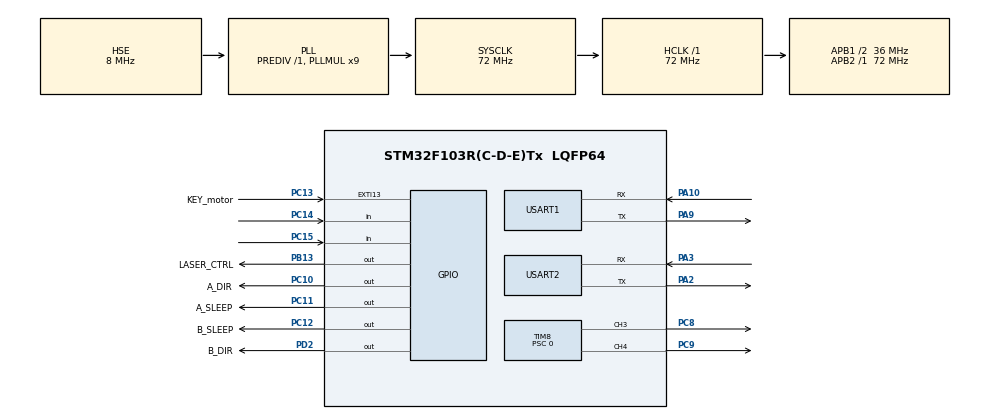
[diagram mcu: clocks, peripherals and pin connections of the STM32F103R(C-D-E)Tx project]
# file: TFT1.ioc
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Dma.Request0=USART2_TX
Dma.Request1=USART2_RX
Dma.USART2_RX.1.Direction=DMA_PERIPH_TO_MEMORY
Dma.USART2_RX.1.Instance=DMA1_Channel6
Dma.USART2_RX.1.MemDataAlignment=DMA_MDATAALIGN_BYTE
Dma.USART2_RX.1.MemInc=DMA_MINC_ENABLE
Dma.USART2_RX.1.Mode=DMA_CIRCULAR
Dma.USART2_RX.1.PeriphDataAlignment=DMA_PDATAALIGN_BYTE
Dma.USART2_RX.1.PeriphInc=DMA_PINC_DISABLE
Dma.USART2_RX.1.Priority=DMA_PRIORITY_LOW
Dma.USART2_TX.0.Direction=DMA_MEMORY_TO_PERIPH
Dma.USART2_TX.0.Instance=DMA1_Channel7
Dma.USART2_TX.0.MemDataAlignment=DMA_MDATAALIGN_BYTE
Dma.USART2_TX.0.MemInc=DMA_MINC_ENABLE
Dma.USART2_TX.0.Mode=DMA_NORMAL
Dma.USART2_TX.0.PeriphDataAlignment=DMA_PDATAALIGN_BYTE
Dma.USART2_TX.0.PeriphInc=DMA_PINC_DISABLE
Dma.USART2_TX.0.Priority=DMA_PRIORITY_LOW
Mcu.Family=STM32F1
Mcu.Name=STM32F103R(C-D-E)Tx
Mcu.Package=LQFP64
NVIC.DMA1_Channel6_IRQn=true\:0\:0\:false\:false\:true\:false\:true\:true
NVIC.DMA1_Channel7_IRQn=true\:0\:0\:false\:false\:true\:false\:true\:true
NVIC.EXTI15_10_IRQn=true\:0\:0\:false\:false\:true\:true\:true\:true
NVIC.PriorityGroup=NVIC_PRIORITYGROUP_4
NVIC.USART2_IRQn=true\:0\:0\:false\:false\:true\:true\:true\:true
PA10.Mode=Asynchronous
PA10.Signal=USART1_RX
PA13.Mode=Serial_Wire
PA13.Signal=SYS_JTMS-SWDIO
PA14.Mode=Serial_Wire
PA14.Signal=SYS_JTCK-SWCLK
PA2.Mode=Asynchronous
PA2.Signal=USART2_TX
PA3.Mode=Asynchronous
PA3.Signal=USART2_RX
PA9.Mode=Asynchronous
PA9.Signal=USART1_TX
PB13.GPIO_Label=LASER_CTRL
PB13.GPIO_ModeDefaultOutputPP=GPIO_MODE_OUTPUT_OD
PB13.GPIO_PuPd=GPIO_NOPULL
PB13.PinState=GPIO_PIN_SET
PB13.Signal=GPIO_Output
PC10.GPIO_Label=A_DIR
PC10.GPIO_Speed=GPIO_SPEED_FREQ_HIGH
PC10.Signal=GPIO_Output
PC11.GPIO_Label=A_SLEEP
PC11.GPIO_Speed=GPIO_SPEED_FREQ_HIGH
PC11.PinState=GPIO_PIN_SET
PC11.Signal=GPIO_Output
PC12.GPIO_Label=B_SLEEP
PC12.GPIO_Speed=GPIO_SPEED_FREQ_HIGH
PC12.PinState=GPIO_PIN_SET
PC12.Signal=GPIO_Output
PC13-TAMPER-RTC.GPIO_Label=KEY_motor
PC13-TAMPER-RTC.GPIO_ModeDefaultEXTI=GPIO_MODE_IT_FALLING
PC13-TAMPER-RTC.GPIO_PuPd=GPIO_PULLUP
PC13-TAMPER-RTC.Signal=GPXTI13
PC14-OSC32_IN.GPIO_PuPd=GPIO_PULLUP
PC14-OSC32_IN.Signal=GPIO_Input
PC15-OSC32_OUT.GPIO_Mode=GPIO_MODE_INPUT
PC15-OSC32_OUT.GPIO_PuPd=GPIO_PULLUP
PC15-OSC32_OUT.Signal=GPIO_Input
PC8.Signal=S_TIM8_CH3
PC9.Signal=S_TIM8_CH4
PD0-OSC_IN.Mode=HSE-External-Oscillator
PD0-OSC_IN.Signal=RCC_OSC_IN
PD1-OSC_OUT.Mode=HSE-External-Oscillator
PD1-OSC_OUT.Signal=RCC_OSC_OUT
PD2.GPIO_Label=B_DIR
PD2.GPIO_Speed=GPIO_SPEED_FREQ_HIGH
PD2.PinState=GPIO_PIN_RESET
PD2.Signal=GPIO_Output
ProjectManager.HeapSize=0x200
ProjectManager.StackSize=0x400
ProjectManager.TargetToolchain=CMake
RCC.AHBFreq_Value=72000000
RCC.APB1CLKDivider=RCC_HCLK_DIV2
RCC.APB1Freq_Value=36000000
RCC.APB1TimFreq_Value=72000000
RCC.APB2Freq_Value=72000000
RCC.APB2TimFreq_Value=72000000
RCC.HCLKFreq_Value=72000000
RCC.PLLMUL=RCC_PLL_MUL9
RCC.PLLSourceVirtual=RCC_PLLSOURCE_HSE
RCC.SYSCLKFreq_VALUE=72000000
RCC.SYSCLKSource=RCC_SYSCLKSOURCE_PLLCLK
RCC.USBFreq_Value=72000000
SH.S_TIM8_CH3.0=TIM8_CH3,PWM Generation3 CH3
SH.S_TIM8_CH4.0=TIM8_CH4,PWM Generation4 CH4
TIM8.AutoReloadPreload=TIM_AUTORELOAD_PRELOAD_ENABLE
TIM8.Channel-PWM\ Generation3\ CH3=TIM_CHANNEL_3
TIM8.Channel-PWM\ Generation4\ CH4=TIM_CHANNEL_4
TIM8.Period=7199
TIM8.Prescaler=0
TIM8.TIM_MasterOutputTrigger=TIM_TRGO_OC3REF
TIM8.TIM_MasterSlaveMode=TIM_MASTERSLAVEMODE_ENABLE
USART1.VirtualMode=VM_ASYNC
USART2.VirtualMode=VM_ASYNC
VP_TIM8_VS_ClockSourceINT.Mode=Internal
board=custom

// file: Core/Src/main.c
/* USER CODE BEGIN Header */
/**
  ******************************************************************************
  * @file           : main.c
  * @brief          : Main program body
  ******************************************************************************
  * @attention
  *
  * Copyright (c) 2025 STMicroelectronics.
  * All rights reserved.
  *
  * This software is licensed under terms that can be found in the LICENSE file
  * in the root directory of this software component.
  * If no LICENSE file comes with this software, it is provided AS-IS.
  *
  ******************************************************************************
  */
/* USER CODE END Header */
#include "main.h"
#include "dma.h"
#include "tim.h"
#include "usart.h"
#include "gpio.h"

/* USER CODE BEGIN Includes */
#include "step_motor.h"
// #include "delay.h"
#include "key.h"
#include "usart_user.h"
#include "pid.h"
/* USER CODE END Includes */

/* USER CODE BEGIN PD */
// 定义 UART 接收缓存（大小可根据实际命令长度扩展）
#define UART_RX_BUF_LEN 64
// 全局变量
uint8_t uart_cmd_buf[UART_RX_BUF_LEN] = {0};
uint16_t uart_cmd_idx = 0;
uint32_t last_receive_time = 0;

volatile int g_dect_flag = 0;  // 是否检测到目标
volatile int g_err_x = 0;      // 当前x偏差
volatile int g_err_y = 0;      // 当前y偏差

#define CMD_TIMEOUT_MS 1000  // 命令超时时间

// 命令解析函数
void parse_uart_cmd(const char* cmd)
{
  int dect_flag = 0;
  int x_err = 0, y_err = 0;

  // 添加长度检查
  if (strlen(cmd) < 7) {
    // usart_printf("命令过短: %s\r\n", cmd);
    return;
  }

  if (strncmp(cmd, "0xdect:", 7) != 0) {
    // usart_printf("无效命令头: %s\r\n", cmd);
    return;
  }
  if (sscanf(cmd, "0xdect:%d,err:%d,%d", &dect_flag, &x_err, &y_err) == 3)
  {
    // usart_printf("✅ 解析成功: dect=%d, x=%.2f, y=%.2f\r\n", dect_flag, x_err, y_err);
    StepMotor_PID_Update(x_err, y_err, dect_flag);
    g_dect_flag = dect_flag;
    g_err_x = x_err;
    g_err_y = y_err;
  }
  else
  {
    // usart_printf("❌ 解析失败: %s\r\n", cmd);
  }
}
// 清空接收缓冲区
void clear_uart_buffer(void)
{
  memset(uart_cmd_buf, 0, UART_RX_BUF_LEN);
  uart_cmd_idx = 0;
}

void loop_uart_check(void)
{
  uint8_t ch;
  uint32_t current_time = HAL_GetTick();

  // 超时检查：如果长时间没有完整命令，清空缓冲区
  if (uart_cmd_idx > 0 && (current_time - last_receive_time) > CMD_TIMEOUT_MS) {
    // usart_printf("⚠️ 命令接收超时，清空缓冲区\r\n");
    clear_uart_buffer();
  }

  while (HAL_UART_Receive(&huart2, &ch, 1, 100) == HAL_OK)  // 增加超时时间到100ms
  {
    last_receive_time = current_time;

    // 方案1：严格的命令头检测 "0xdect:"
    if (uart_cmd_idx == 0) {
      if (ch != '0') {
        continue; // 丢弃开头不是 '0' 的字符
      }
    }
    // 检查是否是完整的命令头 "0xdect:"
    else if (uart_cmd_idx < 7) {
      const char expected[] = "0xdect:";
      if (ch != expected[uart_cmd_idx]) {
        // 如果不匹配，重新开始
        clear_uart_buffer();
        if (ch == '0') {
          uart_cmd_buf[uart_cmd_idx++] = ch;
        }
        continue;
      }
    }

    // 处理结束符
    if (ch == '\n' || ch == '\r')
    {
      if (uart_cmd_idx > 0) {  // 确保有数据
        uart_cmd_buf[uart_cmd_idx] = '\0';
        // usart_printf("📨 收到命令: %s\r\n", uart_cmd_buf);
        parse_uart_cmd(uart_cmd_buf);
        clear_uart_buffer();
      }
    }
    else
    {
      // 防止缓冲区溢出
      if (uart_cmd_idx < UART_RX_BUF_LEN - 1) {
        uart_cmd_buf[uart_cmd_idx++] = ch;
      } else {
        // usart_printf("⚠️ 缓冲区溢出，清空重新开始\r\n");
        clear_uart_buffer();
      }
    }
  }
}

void MotorControl_Init(void)
{
  // 初始化 PID 参数（可自行调参）
  // PID_Init(&pid_x, 0.001f, 0.01f, 0.001f, 50.0f);
  PID_Init(&pid_x, 2.0f, 0.001f, 0.001f, 50.0f);
  PID_Init(&pid_y, 8.0f, 0.001f, 0.001f, 50.0f);
  // PID_Init(&pid_x, 2.0f, 0.005f, 0.0f, 50.0f);
  // PID_Init(&pid_y, 3.0f, 0.001f, 0.0f, 50.0f);
  // PID_Init(&pid_y, 1.0f, 0.01f, 0.001f, 50.0f);
}

void Laser_On(void)
{
  HAL_GPIO_WritePin(GPIOB, GPIO_PIN_13, GPIO_PIN_RESET);
}

// 关闭激光器
void Laser_Off(void)
{
  HAL_GPIO_WritePin(GPIOB, GPIO_PIN_13, GPIO_PIN_SET);
}

/* USER CODE END PD */

void SystemClock_Config(void);

int main(void)
{

  /* MCU Configuration--------------------------------------------------------*/

  /* Reset of all peripherals, Initializes the Flash interface and the Systick. */
  HAL_Init();

  /* USER CODE BEGIN Init */
  // delay_init();  // 初始化 DWT/SysTick 延时
  /* USER CODE END Init */

  /* Configure the system clock */
  SystemClock_Config();

  /* Initialize all configured peripherals */
  MX_GPIO_Init();
  MX_DMA_Init();
  MX_USART2_UART_Init();
  MX_TIM8_Init();
  MX_USART1_UART_Init();
  /* USER CODE BEGIN 2 */
  // 初始化按键中断
  // Key_Init();

  // HAL_UART_Receive_IT(&huart2, &uart_rx_ch, 1);  // ✅ 接收1字节

  MotorControl_Init();

  // 初始化方向与休眠引脚
  StepMotor_Init();
  // 使能 A、B 电机
  // 初始化方向与休眠引脚
  StepMotor_Init();
  // 使能 A、B 电机（退出 SLEEP）
  StepMotor_SetSleep(STEP_MOTOR_A, GPIO_PIN_SET);
  StepMotor_SetSleep(STEP_MOTOR_B, GPIO_PIN_SET);

  // 设置方向（GPIO_PIN_RESET = 顺时针）
  StepMotor_SetDir(STEP_MOTOR_A, GPIO_PIN_RESET);
  StepMotor_SetDir(STEP_MOTOR_B, GPIO_PIN_RESET);

  // 设置占空比为 50%
  // StepMotor_SetDuty(STEP_MOTOR_A, 50.0f);  // 百分比
  // StepMotor_SetDuty(STEP_MOTOR_B, 50.0f);
  StepMotor_SetDuty(STEP_MOTOR_A, 0.0f);  // 百分比
  StepMotor_SetDuty(STEP_MOTOR_B, 0.0f);

  // 启动 PWM 输出
  StepMotor_Start(STEP_MOTOR_A);
  StepMotor_Start(STEP_MOTOR_B);

  // delay_ms(10);
  HAL_Delay(10);

  StepMotor_Turn(STEP_MOTOR_A, 78, 32.0f, 0, 100);
  // Laser_Off();  // 默认关闭激光器
  // HAL_Delay(900);
  Laser_On();  // 默认关闭激光器
  // StepMotor_Turn(STEP_MOTOR_A, 0, 32.0f, 0, 50);

  /* USER CODE END 2 */

  /* Infinite loop */
  /* USER CODE BEGIN WHILE */
  // 默认状态
  // ✅ 放在这里 —— 保证变量不会被每次 while 重置
  static uint8_t detect_mode_entered = 0;
  static float step_angle = 10.0f;
  static float total_rotated = 0.0f;
  while (1)
  {
    // StepMotor_Turn(STEP_MOTOR_B, 1.8, 32.0f, 0, 1);
    // loop_uart_check();  // 检查是否有数据
    // if (abs(g_err_x) <= 200 && abs(g_err_y) <= 200) {
    //   Laser_On();

    // }

    /* USER CODE END WHILE */

  }
}

void SystemClock_Config(void)
{
  RCC_OscInitTypeDef RCC_OscInitStruct = {0};
  RCC_ClkInitTypeDef RCC_ClkInitStruct = {0};

  /** Initializes the RCC Oscillators according to the specified parameters
  * in the RCC_OscInitTypeDef structure.
  */
  RCC_OscInitStruct.OscillatorType = RCC_OSCILLATORTYPE_HSE;
  RCC_OscInitStruct.HSEState = RCC_HSE_ON;
  RCC_OscInitStruct.HSEPredivValue = RCC_HSE_PREDIV_DIV1;
  RCC_OscInitStruct.HSIState = RCC_HSI_ON;
  RCC_OscInitStruct.PLL.PLLState = RCC_PLL_ON;
  RCC_OscInitStruct.PLL.PLLSource = RCC_PLLSOURCE_HSE;
  RCC_OscInitStruct.PLL.PLLMUL = RCC_PLL_MUL9;
  if (HAL_RCC_OscConfig(&RCC_OscInitStruct) != HAL_OK)
  {
    Error_Handler();
  }

  /** Initializes the CPU, AHB and APB buses clocks
  */
  RCC_ClkInitStruct.ClockType = RCC_CLOCKTYPE_HCLK|RCC_CLOCKTYPE_SYSCLK
                              |RCC_CLOCKTYPE_PCLK1|RCC_CLOCKTYPE_PCLK2;
  RCC_ClkInitStruct.SYSCLKSource = RCC_SYSCLKSOURCE_PLLCLK;
  RCC_ClkInitStruct.AHBCLKDivider = RCC_SYSCLK_DIV1;
  RCC_ClkInitStruct.APB1CLKDivider = RCC_HCLK_DIV2;
  RCC_ClkInitStruct.APB2CLKDivider = RCC_HCLK_DIV1;

  if (HAL_RCC_ClockConfig(&RCC_ClkInitStruct, FLASH_LATENCY_2) != HAL_OK)
  {
    Error_Handler();
  }
}

void Error_Handler(void)
{
  __disable_irq();
  while (1)
  {
  }
}
